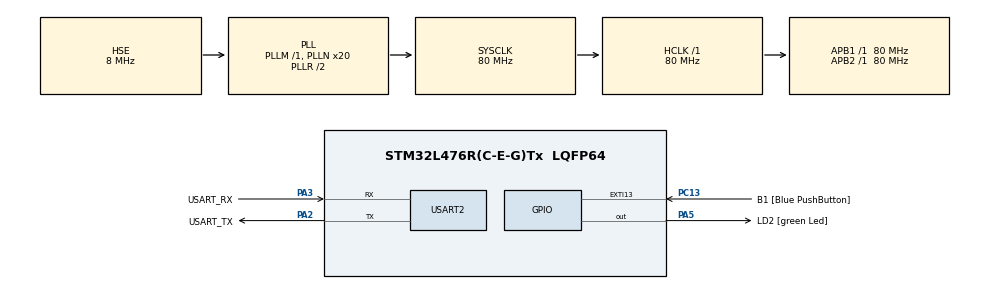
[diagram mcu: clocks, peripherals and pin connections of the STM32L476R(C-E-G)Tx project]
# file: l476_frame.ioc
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Mcu.Family=STM32L4
Mcu.Name=STM32L476R(C-E-G)Tx
Mcu.Package=LQFP64
NVIC.PriorityGroup=NVIC_PRIORITYGROUP_4
NVIC.USART2_IRQn=true\:3\:0\:true\:false\:true\:true\:true
PA13\ (JTMS-SWDIO).GPIO_Label=TMS
PA13\ (JTMS-SWDIO).Mode=Serial_Wire
PA13\ (JTMS-SWDIO).Signal=SYS_JTMS-SWDIO
PA14\ (JTCK-SWCLK).GPIO_Label=TCK
PA14\ (JTCK-SWCLK).Mode=Serial_Wire
PA14\ (JTCK-SWCLK).Signal=SYS_JTCK-SWCLK
PA2.GPIO_Label=USART_TX
PA2.GPIO_Mode=GPIO_MODE_AF_PP
PA2.GPIO_PuPd=GPIO_NOPULL
PA2.GPIO_Speed=GPIO_SPEED_FREQ_VERY_HIGH
PA2.Mode=Asynchronous
PA2.Signal=USART2_TX
PA3.GPIO_Label=USART_RX
PA3.GPIO_Mode=GPIO_MODE_AF_PP
PA3.GPIO_PuPd=GPIO_NOPULL
PA3.GPIO_Speed=GPIO_SPEED_FREQ_VERY_HIGH
PA3.Mode=Asynchronous
PA3.Signal=USART2_RX
PA5.GPIO_Label=LD2 [green Led]
PA5.GPIO_ModeDefaultOutputPP=GPIO_MODE_OUTPUT_PP
PA5.GPIO_PuPd=GPIO_NOPULL
PA5.GPIO_Speed=GPIO_SPEED_FREQ_LOW
PA5.Signal=GPIO_Output
PB3\ (JTDO-TRACESWO).GPIO_Label=SWO
PB3\ (JTDO-TRACESWO).Signal=SYS_JTDO-SWO
PC13.GPIO_Label=B1 [Blue PushButton]
PC13.GPIO_ModeDefaultEXTI=GPIO_MODE_IT_FALLING
PC13.GPIO_PuPd=GPIO_NOPULL
PC13.Signal=GPXTI13
PC14-OSC32_IN\ (PC14).Mode=LSE-External-Oscillator
PC14-OSC32_IN\ (PC14).Signal=RCC_OSC32_IN
PC15-OSC32_OUT\ (PC15).Mode=LSE-External-Oscillator
PC15-OSC32_OUT\ (PC15).Signal=RCC_OSC32_OUT
PH0-OSC_IN\ (PH0).Mode=HSE-External-Oscillator
PH0-OSC_IN\ (PH0).Signal=RCC_OSC_IN
PH1-OSC_OUT\ (PH1).Mode=HSE-External-Oscillator
PH1-OSC_OUT\ (PH1).Signal=RCC_OSC_OUT
ProjectManager.HeapSize=0x200
ProjectManager.StackSize=0x400
ProjectManager.TargetToolchain=MDK-ARM V5.27
RCC.ADCFreq_Value=32000000
RCC.AHBFreq_Value=80000000
RCC.APB1Freq_Value=80000000
RCC.APB1TimFreq_Value=80000000
RCC.APB2Freq_Value=80000000
RCC.APB2TimFreq_Value=80000000
RCC.CortexFreq_Value=80000000
RCC.HCLKFreq_Value=80000000
RCC.HSE_VALUE=8000000
RCC.HSI_VALUE=16000000
RCC.MSI_VALUE=4000000
RCC.PLLN=20
RCC.PLLSourceVirtual=RCC_PLLSOURCE_HSE
RCC.PREFETCH_ENABLE=1
RCC.SYSCLKFreq_VALUE=80000000
RCC.SYSCLKSource=RCC_SYSCLKSOURCE_PLLCLK
RCC.USBFreq_Value=32000000
RCC.VCOOutputFreq_Value=160000000
USART2.VirtualMode-Asynchronous=VM_ASYNC
board=NUCLEO-L476RG

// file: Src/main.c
/* USER CODE BEGIN Header */
/**
  ******************************************************************************
  * @file           : main.c
  * @brief          : Main program body
  ******************************************************************************
  * @attention
  *
  * <h2><center>&copy; Copyright (c) 2020 STMicroelectronics.
  * All rights reserved.</center></h2>
  *
  * This software component is licensed by ST under BSD 3-Clause license,
  * the "License"; You may not use this file except in compliance with the
  * License. You may obtain a copy of the License at:
  *                        opensource.org/licenses/BSD-3-Clause
  *
  ******************************************************************************
  */
/* USER CODE END Header */

#include "main.h"
#include "usart.h"
#include "gpio.h"

/* USER CODE BEGIN Includes */
#include "stdio.h"
/* USER CODE END Includes */

/* USER CODE BEGIN PTD */
   typedef enum{
		 normal =0,
	  frame_err ,
		device_err ,
    code_err
		} Err_type;
/* USER CODE END PTD */

/* USER CODE BEGIN PV */
uint8_t Rx_buf[4] = {0};
uint8_t Rx_flag = 0;
Err_type  err  = normal;
/* USER CODE END PV */

void SystemClock_Config(void);

int main(void)
{

  /* MCU Configuration--------------------------------------------------------*/

  /* Reset of all peripherals, Initializes the Flash interface and the Systick. */
  HAL_Init();

  /* Configure the system clock */
  SystemClock_Config();

  /* Initialize all configured peripherals */
  MX_GPIO_Init();
  MX_USART2_UART_Init();
  /* USER CODE BEGIN 2 */
   HAL_UART_Receive_IT(&huart2, Rx_buf , 4);
	  printf("this is a frame test.");
  /* USER CODE END 2 */

  /* Infinite loop */
  /* USER CODE BEGIN WHILE */
  while (1)
 {

	 if(Rx_flag == 1)
	  {if((Rx_buf[0]==0xaa)&&(Rx_buf[3]==0x55))
		  {
			  if(Rx_buf[1]==0x01)
			  {
				 switch(Rx_buf[2])
				  {
				   case 0x01 :
						 HAL_GPIO_WritePin(LD2_GPIO_Port, LD2_Pin, GPIO_PIN_RESET);
					   break;
					 case 0x00:
						 HAL_GPIO_WritePin(LD2_GPIO_Port, LD2_Pin, GPIO_PIN_SET);
   					break;
				   default:
						 HAL_GPIO_WritePin(LD2_GPIO_Port, LD2_Pin, GPIO_PIN_RESET);
					   err = code_err;
					   break;
				  }
			  }
       else err =  device_err;
		  }
		 else err =  frame_err;
     Rx_flag = 0;
	  }

   /* USER CODE END WHILE */
    /* USER CODE BEGIN 3 */
		if(err == frame_err )
		  {
				printf (" there is mistake with frame. \r\n");
			}
			else if ( err==device_err)
			 {
				 printf (" there  is mistake with device. \r\n");
			 }
      else if (err == code_err)
		   {
				 printf (" there is mistake with code. \r\n");

			 }
			 else printf (" there is normal. \r\n");
				 HAL_Delay(500)	;
		}
  /* USER CODE END 3 */
}

void SystemClock_Config(void)
{
  RCC_OscInitTypeDef RCC_OscInitStruct = {0};
  RCC_ClkInitTypeDef RCC_ClkInitStruct = {0};
  RCC_PeriphCLKInitTypeDef PeriphClkInit = {0};

  /** Initializes the CPU, AHB and APB busses clocks
  */
  RCC_OscInitStruct.OscillatorType = RCC_OSCILLATORTYPE_HSE;
  RCC_OscInitStruct.HSEState = RCC_HSE_ON;
  RCC_OscInitStruct.PLL.PLLState = RCC_PLL_ON;
  RCC_OscInitStruct.PLL.PLLSource = RCC_PLLSOURCE_HSE;
  RCC_OscInitStruct.PLL.PLLM = 1;
  RCC_OscInitStruct.PLL.PLLN = 20;
  RCC_OscInitStruct.PLL.PLLP = RCC_PLLP_DIV7;
  RCC_OscInitStruct.PLL.PLLQ = RCC_PLLQ_DIV2;
  RCC_OscInitStruct.PLL.PLLR = RCC_PLLR_DIV2;
  if (HAL_RCC_OscConfig(&RCC_OscInitStruct) != HAL_OK)
  {
    Error_Handler();
  }
  /** Initializes the CPU, AHB and APB busses clocks
  */
  RCC_ClkInitStruct.ClockType = RCC_CLOCKTYPE_HCLK|RCC_CLOCKTYPE_SYSCLK
                              |RCC_CLOCKTYPE_PCLK1|RCC_CLOCKTYPE_PCLK2;
  RCC_ClkInitStruct.SYSCLKSource = RCC_SYSCLKSOURCE_PLLCLK;
  RCC_ClkInitStruct.AHBCLKDivider = RCC_SYSCLK_DIV1;
  RCC_ClkInitStruct.APB1CLKDivider = RCC_HCLK_DIV1;
  RCC_ClkInitStruct.APB2CLKDivider = RCC_HCLK_DIV1;

  if (HAL_RCC_ClockConfig(&RCC_ClkInitStruct, FLASH_LATENCY_4) != HAL_OK)
  {
    Error_Handler();
  }
  PeriphClkInit.PeriphClockSelection = RCC_PERIPHCLK_USART2;
  PeriphClkInit.Usart2ClockSelection = RCC_USART2CLKSOURCE_PCLK1;
  if (HAL_RCCEx_PeriphCLKConfig(&PeriphClkInit) != HAL_OK)
  {
    Error_Handler();
  }
  /** Configure the main internal regulator output voltage
  */
  if (HAL_PWREx_ControlVoltageScaling(PWR_REGULATOR_VOLTAGE_SCALE1) != HAL_OK)
  {
    Error_Handler();
  }
}

void Error_Handler(void)
{
}

/************************ (C) COPYRIGHT STMicroelectronics *****END OF FILE****/
